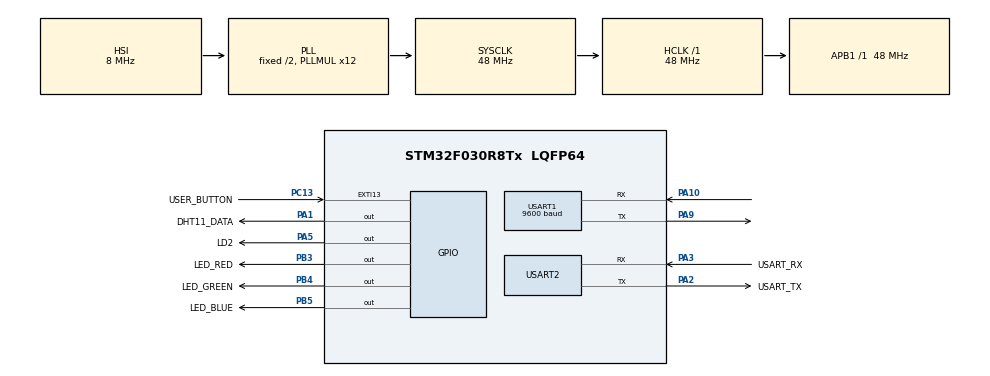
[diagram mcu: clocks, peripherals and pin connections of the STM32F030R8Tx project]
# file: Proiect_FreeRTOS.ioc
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FREERTOS.BinarySemaphores01=buttonSem,Dynamic,NULL,Available
FREERTOS.Queues01=commsQueue,4,uint32_t,0,Dynamic,NULL,NULL
FREERTOS.Tasks01=taskRT,0,256,vTaskRT,Default,NULL,Dynamic,NULL,NULL;taskComm,-2,256,vTaskComm,Default,NULL,Dynamic,NULL,NULL;taskButton,2,128,StartTaskButton,Default,NULL,Dynamic,NULL,NULL
FREERTOS.configTOTAL_HEAP_SIZE=3072
FREERTOS.configUSE_NEWLIB_REENTRANT=0
Mcu.Family=STM32F0
Mcu.Name=STM32F030R8Tx
Mcu.Package=LQFP64
NVIC.EXTI4_15_IRQn=true\:3\:0\:false\:false\:true\:true\:true\:true\:true
NVIC.TIM6_IRQn=true\:3\:0\:false\:false\:true\:false\:false\:true\:true
NVIC.TimeBase=TIM6_IRQn
NVIC.TimeBaseIP=TIM6
NVIC.USART1_IRQn=true\:3\:0\:false\:false\:true\:true\:true\:true\:true
PA1.GPIO_Label=DHT11_DATA
PA1.Signal=GPIO_Output
PA10.Mode=Asynchronous
PA10.Signal=USART1_RX
PA13.GPIO_Label=TMS
PA13.Mode=Serial_Wire
PA13.Signal=SYS_SWDIO
PA14.GPIO_Label=TCK
PA14.Mode=Serial_Wire
PA14.Signal=SYS_SWCLK
PA2.GPIO_Label=USART_TX
PA2.GPIO_Mode=GPIO_MODE_AF_PP
PA2.GPIO_PuPd=GPIO_NOPULL
PA2.GPIO_Speed=GPIO_SPEED_FREQ_LOW
PA2.Mode=Asynchronous
PA2.Signal=USART2_TX
PA3.GPIO_Label=USART_RX
PA3.GPIO_Mode=GPIO_MODE_AF_PP
PA3.GPIO_PuPd=GPIO_NOPULL
PA3.GPIO_Speed=GPIO_SPEED_FREQ_LOW
PA3.Mode=Asynchronous
PA3.Signal=USART2_RX
PA5.GPIO_Label=LD2
PA5.Signal=GPIO_Output
PA9.Mode=Asynchronous
PA9.Signal=USART1_TX
PB3.GPIO_Label=LED_RED
PB3.Signal=GPIO_Output
PB4.GPIO_Label=LED_GREEN
PB4.Signal=GPIO_Output
PB5.GPIO_Label=LED_BLUE
PB5.Signal=GPIO_Output
PC13.GPIO_Label=USER_BUTTON
PC13.Signal=GPXTI13
PC14-OSC32_IN.Mode=LSE-External-Oscillator
PC14-OSC32_IN.Signal=RCC_OSC32_IN
PC15-OSC32_OUT.Mode=LSE-External-Oscillator
PC15-OSC32_OUT.Signal=RCC_OSC32_OUT
PF0-OSC_IN.Mode=HSE-External-Clock-Source
PF0-OSC_IN.Signal=RCC_OSC_IN
PF1-OSC_OUT.Signal=RCC_OSC_OUT
ProjectManager.HeapSize=0x200
ProjectManager.StackSize=0x400
ProjectManager.TargetToolchain=STM32CubeIDE
RCC.AHBFreq_Value=48000000
RCC.APB1Freq_Value=48000000
RCC.APB1TimFreq_Value=48000000
RCC.HCLKFreq_Value=48000000
RCC.PLLMUL=RCC_PLL_MUL12
RCC.SYSCLKFreq_VALUE=48000000
RCC.SYSCLKSource=RCC_SYSCLKSOURCE_PLLCLK
TIM14.Prescaler=47
USART1.BaudRate=9600
USART1.VirtualMode-Asynchronous=VM_ASYNC
USART2.VirtualMode-Asynchronous=VM_ASYNC
VP_FREERTOS_VS_CMSIS_V1.Mode=CMSIS_V1
VP_SYS_VS_tim6.Mode=TIM6
VP_TIM14_VS_ClockSourceINT.Mode=Enable_Timer
board=NUCLEO-F030R8

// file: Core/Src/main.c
/* USER CODE BEGIN Header */
/**
  ******************************************************************************
  * @file           : main.c
  * @brief          : Main program body
  ******************************************************************************
  * @attention
  *
  * Copyright (c) 2025 STMicroelectronics.
  * All rights reserved.
  *
  * This software is licensed under terms that can be found in the LICENSE file
  * in the root directory of this software component.
  * If no LICENSE file comes with this software, it is provided AS-IS.
  *
  ******************************************************************************
  */
/* USER CODE END Header */
#include "main.h"
#include "cmsis_os.h"

/* USER CODE BEGIN Includes */
#include <stdio.h>
#include <string.h>
/* USER CODE END Includes */

/* USER CODE BEGIN PTD */
typedef struct {
  uint8_t Temperature;
  uint8_t Humidity;
} DHT11_Data_t;
/* USER CODE END PTD */

/* USER CODE BEGIN PD */
#define DHT11_PORT GPIOA
#define DHT11_PIN  GPIO_PIN_1

#define LED_PORT GPIOB
#define LED_RED_PIN   GPIO_PIN_3
#define LED_GREEN_PIN GPIO_PIN_4
#define LED_BLUE_PIN  GPIO_PIN_5
/* USER CODE END PD */

TIM_HandleTypeDef htim14;

UART_HandleTypeDef huart1;
UART_HandleTypeDef huart2;

osThreadId taskRTHandle;
osThreadId taskCommHandle;
osThreadId taskButtonHandle;
osMessageQId commsQueueHandle;
osSemaphoreId buttonSemHandle;
/* USER CODE BEGIN PV */
volatile uint8_t SystemMode = 0; // 0=Monitor, 1=Set Temp, 2=Set Hum
volatile uint8_t TempThreshold = 20;
volatile uint8_t HumThreshold = 60;
uint8_t rx_buffer[1];
uint8_t button_last_state = 1;
/* USER CODE END PV */

void SystemClock_Config(void);
static void MX_GPIO_Init(void);
static void MX_USART2_UART_Init(void);
static void MX_TIM14_Init(void);
static void MX_USART1_UART_Init(void);
void vTaskRT(void const * argument);
void vTaskComm(void const * argument);
void StartTaskButton(void const * argument);

/* USER CODE BEGIN PFP */
void DHT11_Start(void);
uint8_t DHT11_Read(void);
void Set_Pin_Output(GPIO_TypeDef *GPIOx, uint16_t GPIO_Pin);
void Set_Pin_Input(GPIO_TypeDef *GPIOx, uint16_t GPIO_Pin);
void delay_us(uint32_t us);
/* USER CODE END PFP */

/* USER CODE BEGIN 0 */
void MicroDelay(uint16_t us) {
  __HAL_TIM_SET_COUNTER(&htim14, 0);
  while (__HAL_TIM_GET_COUNTER(&htim14) < us);
}

void Set_Pin_Output(GPIO_TypeDef *GPIOx, uint16_t GPIO_Pin) {
  GPIO_InitTypeDef GPIO_InitStruct = {0};
  GPIO_InitStruct.Pin = GPIO_Pin;
  GPIO_InitStruct.Mode = GPIO_MODE_OUTPUT_PP;
  GPIO_InitStruct.Speed = GPIO_SPEED_FREQ_HIGH;
  GPIO_InitStruct.Pull = GPIO_NOPULL;
  HAL_GPIO_Init(GPIOx, &GPIO_InitStruct);
}

void Set_Pin_Input(GPIO_TypeDef *GPIOx, uint16_t GPIO_Pin) {
  GPIO_InitTypeDef GPIO_InitStruct = {0};
  GPIO_InitStruct.Pin = GPIO_Pin;
  GPIO_InitStruct.Mode = GPIO_MODE_INPUT;
  GPIO_InitStruct.Pull = GPIO_NOPULL;
  HAL_GPIO_Init(GPIOx, &GPIO_InitStruct);
}

uint8_t DHT11_Read_Data(DHT11_Data_t *dht_data) {
  uint8_t i, j, byte;
  uint8_t data[5] = {0};
  uint32_t timeout;

  // 1. START
  Set_Pin_Output(DHT11_PORT, DHT11_PIN);
  HAL_GPIO_WritePin(DHT11_PORT, DHT11_PIN, GPIO_PIN_RESET);
  osDelay(18);
  HAL_GPIO_WritePin(DHT11_PORT, DHT11_PIN, GPIO_PIN_SET);
  MicroDelay(20);
  Set_Pin_Input(DHT11_PORT, DHT11_PIN);

  // 2. CHECK RESPONSE
  timeout = 0;
  while(HAL_GPIO_ReadPin(DHT11_PORT, DHT11_PIN) == GPIO_PIN_SET) {
    MicroDelay(1);
    if(++timeout > 100) return 1;
  }
  timeout = 0;
  while(HAL_GPIO_ReadPin(DHT11_PORT, DHT11_PIN) == GPIO_PIN_RESET) {
    MicroDelay(1);
    if(++timeout > 100) return 2;
  }
  timeout = 0;
  while(HAL_GPIO_ReadPin(DHT11_PORT, DHT11_PIN) == GPIO_PIN_SET) {
    MicroDelay(1);
    if(++timeout > 100) return 3;
  }

  // 3. READ BITS
  for (j = 0; j < 5; j++) {
    byte = 0;
    for (i = 0; i < 8; i++) {
      timeout = 0;
      while(HAL_GPIO_ReadPin(DHT11_PORT, DHT11_PIN) == GPIO_PIN_RESET) {
        MicroDelay(1);
        if(++timeout > 100) return 4;
      }

      MicroDelay(40);

      if (HAL_GPIO_ReadPin(DHT11_PORT, DHT11_PIN) == GPIO_PIN_SET) {
        byte |= (1 << (7 - i));
        timeout = 0;
        while(HAL_GPIO_ReadPin(DHT11_PORT, DHT11_PIN) == GPIO_PIN_SET) {
          MicroDelay(1);
          if(++timeout > 100) return 5;
        }
      }
    }
    data[j] = byte;
  }

  // 4. CHECKSUM
  if (data[4] == ((data[0] + data[1] + data[2] + data[3]) & 0xFF)) {
    dht_data->Humidity = data[0];
    dht_data->Temperature = data[2];
    return 0;
  } else {
    return 6;
  }
}
/* USER CODE END 0 */

int main(void)
{

  /* MCU Configuration--------------------------------------------------------*/

  /* Reset of all peripherals, Initializes the Flash interface and the Systick. */
  HAL_Init();

  /* Configure the system clock */
  SystemClock_Config();

  /* Initialize all configured peripherals */
  MX_GPIO_Init();
  MX_USART2_UART_Init();
  MX_TIM14_Init();
  MX_USART1_UART_Init();
  /* USER CODE BEGIN 2 */
  //osKernelInitialize();
  /* USER CODE END 2 */

  /* Create the semaphores(s) */
  /* definition and creation of buttonSem */
  osSemaphoreDef(buttonSem);
  buttonSemHandle = osSemaphoreCreate(osSemaphore(buttonSem), 1);

  /* Create the queue(s) */
  /* definition and creation of commsQueue */
  osMessageQDef(commsQueue, 4, uint32_t);
  commsQueueHandle = osMessageCreate(osMessageQ(commsQueue), NULL);

  /* Create the thread(s) */
  /* definition and creation of taskRT */
  osThreadDef(taskRT, vTaskRT, osPriorityNormal, 0, 128);
  taskRTHandle = osThreadCreate(osThread(taskRT), NULL);

  /* definition and creation of taskComm */
  osThreadDef(taskComm, vTaskComm, osPriorityLow, 0, 256);
  taskCommHandle = osThreadCreate(osThread(taskComm), NULL);

  /* definition and creation of taskButton */
  osThreadDef(taskButton, StartTaskButton, osPriorityHigh, 0, 128);
  taskButtonHandle = osThreadCreate(osThread(taskButton), NULL);

  /* Start scheduler */
  osKernelStart();

  /* We should never get here as control is now taken by the scheduler */

  /* Infinite loop */
  while (1)
  {

  }
}

void SystemClock_Config(void)
{
  RCC_OscInitTypeDef RCC_OscInitStruct = {0};
  RCC_ClkInitTypeDef RCC_ClkInitStruct = {0};
  RCC_PeriphCLKInitTypeDef PeriphClkInit = {0};

  /** Initializes the RCC Oscillators according to the specified parameters
  * in the RCC_OscInitTypeDef structure.
  */
  RCC_OscInitStruct.OscillatorType = RCC_OSCILLATORTYPE_HSI;
  RCC_OscInitStruct.HSIState = RCC_HSI_ON;
  RCC_OscInitStruct.HSICalibrationValue = RCC_HSICALIBRATION_DEFAULT;
  RCC_OscInitStruct.PLL.PLLState = RCC_PLL_ON;
  RCC_OscInitStruct.PLL.PLLSource = RCC_PLLSOURCE_HSI;
  RCC_OscInitStruct.PLL.PLLMUL = RCC_PLL_MUL12;
  RCC_OscInitStruct.PLL.PREDIV = RCC_PREDIV_DIV1;
  if (HAL_RCC_OscConfig(&RCC_OscInitStruct) != HAL_OK)
  {
    Error_Handler();
  }

  /** Initializes the CPU, AHB and APB buses clocks
  */
  RCC_ClkInitStruct.ClockType = RCC_CLOCKTYPE_HCLK|RCC_CLOCKTYPE_SYSCLK
                              |RCC_CLOCKTYPE_PCLK1;
  RCC_ClkInitStruct.SYSCLKSource = RCC_SYSCLKSOURCE_PLLCLK;
  RCC_ClkInitStruct.AHBCLKDivider = RCC_SYSCLK_DIV1;
  RCC_ClkInitStruct.APB1CLKDivider = RCC_HCLK_DIV1;

  if (HAL_RCC_ClockConfig(&RCC_ClkInitStruct, FLASH_LATENCY_1) != HAL_OK)
  {
    Error_Handler();
  }
  PeriphClkInit.PeriphClockSelection = RCC_PERIPHCLK_USART1;
  PeriphClkInit.Usart1ClockSelection = RCC_USART1CLKSOURCE_PCLK1;
  if (HAL_RCCEx_PeriphCLKConfig(&PeriphClkInit) != HAL_OK)
  {
    Error_Handler();
  }
}

static void MX_TIM14_Init(void)
{

  htim14.Instance = TIM14;
  htim14.Init.Prescaler = 47;
  htim14.Init.CounterMode = TIM_COUNTERMODE_UP;
  htim14.Init.Period = 65535;
  htim14.Init.ClockDivision = TIM_CLOCKDIVISION_DIV1;
  htim14.Init.AutoReloadPreload = TIM_AUTORELOAD_PRELOAD_DISABLE;
  if (HAL_TIM_Base_Init(&htim14) != HAL_OK)
  {
    Error_Handler();
  }

}

static void MX_USART1_UART_Init(void)
{

  huart1.Instance = USART1;
  huart1.Init.BaudRate = 9600;
  huart1.Init.WordLength = UART_WORDLENGTH_8B;
  huart1.Init.StopBits = UART_STOPBITS_1;
  huart1.Init.Parity = UART_PARITY_NONE;
  huart1.Init.Mode = UART_MODE_TX_RX;
  huart1.Init.HwFlowCtl = UART_HWCONTROL_NONE;
  huart1.Init.OverSampling = UART_OVERSAMPLING_16;
  huart1.Init.OneBitSampling = UART_ONE_BIT_SAMPLE_DISABLE;
  huart1.AdvancedInit.AdvFeatureInit = UART_ADVFEATURE_NO_INIT;
  if (HAL_UART_Init(&huart1) != HAL_OK)
  {
    Error_Handler();
  }

}

static void MX_USART2_UART_Init(void)
{

  huart2.Instance = USART2;
  huart2.Init.BaudRate = 38400;
  huart2.Init.WordLength = UART_WORDLENGTH_8B;
  huart2.Init.StopBits = UART_STOPBITS_1;
  huart2.Init.Parity = UART_PARITY_NONE;
  huart2.Init.Mode = UART_MODE_TX_RX;
  huart2.Init.HwFlowCtl = UART_HWCONTROL_NONE;
  huart2.Init.OverSampling = UART_OVERSAMPLING_16;
  huart2.Init.OneBitSampling = UART_ONE_BIT_SAMPLE_DISABLE;
  huart2.AdvancedInit.AdvFeatureInit = UART_ADVFEATURE_NO_INIT;
  if (HAL_UART_Init(&huart2) != HAL_OK)
  {
    Error_Handler();
  }

}

static void MX_GPIO_Init(void)
{
  GPIO_InitTypeDef GPIO_InitStruct = {0};

  /* GPIO Ports Clock Enable */
  __HAL_RCC_GPIOC_CLK_ENABLE();
  __HAL_RCC_GPIOF_CLK_ENABLE();
  __HAL_RCC_GPIOA_CLK_ENABLE();
  __HAL_RCC_GPIOB_CLK_ENABLE();

  /*Configure GPIO pin Output Level */
  HAL_GPIO_WritePin(GPIOA, DHT11_DATA_Pin|LD2_Pin, GPIO_PIN_RESET);

  /*Configure GPIO pin Output Level */
  HAL_GPIO_WritePin(GPIOB, LED_RED_Pin|LED_GREEN_Pin|LED_BLUE_Pin, GPIO_PIN_RESET);

  /*Configure GPIO pin : USER_BUTTON_Pin */
  GPIO_InitStruct.Pin = USER_BUTTON_Pin;
  GPIO_InitStruct.Mode = GPIO_MODE_IT_FALLING;
  GPIO_InitStruct.Pull = GPIO_NOPULL;
  HAL_GPIO_Init(USER_BUTTON_GPIO_Port, &GPIO_InitStruct);

  /*Configure GPIO pins : DHT11_DATA_Pin LD2_Pin */
  GPIO_InitStruct.Pin = DHT11_DATA_Pin|LD2_Pin;
  GPIO_InitStruct.Mode = GPIO_MODE_OUTPUT_PP;
  GPIO_InitStruct.Pull = GPIO_NOPULL;
  GPIO_InitStruct.Speed = GPIO_SPEED_FREQ_HIGH;
  HAL_GPIO_Init(GPIOA, &GPIO_InitStruct);

  /*Configure GPIO pins : LED_RED_Pin LED_GREEN_Pin LED_BLUE_Pin */
  GPIO_InitStruct.Pin = LED_RED_Pin|LED_GREEN_Pin|LED_BLUE_Pin;
  GPIO_InitStruct.Mode = GPIO_MODE_OUTPUT_PP;
  GPIO_InitStruct.Pull = GPIO_NOPULL;
  GPIO_InitStruct.Speed = GPIO_SPEED_FREQ_LOW;
  HAL_GPIO_Init(GPIOB, &GPIO_InitStruct);

  /* EXTI interrupt init*/
  HAL_NVIC_SetPriority(EXTI4_15_IRQn, 3, 0);
  HAL_NVIC_EnableIRQ(EXTI4_15_IRQn);

}

/* USER CODE BEGIN 4 */
void HAL_GPIO_EXTI_Callback(uint16_t GPIO_Pin)
{
  if(GPIO_Pin == USER_BUTTON_Pin)
  {
    osSemaphoreRelease(buttonSemHandle);
  }
}

void HAL_UART_RxCpltCallback(UART_HandleTypeDef *huart)
{
  if (huart->Instance == USART1)
  {
    if (SystemMode == 1)
    {
      if (rx_buffer[0] == '+') {
        TempThreshold++;
      }
      else if (rx_buffer[0] == '-') {
        TempThreshold--;
      }
    }
    else if (SystemMode == 2)
    {
      if (rx_buffer[0] == '+') {
        HumThreshold++;
      }
      else if (rx_buffer[0] == '-') {
        HumThreshold--;
      }
    }
    HAL_UART_Receive_IT(&huart1, rx_buffer, 1);
  }
}
/* USER CODE END 4 */

void vTaskRT(void const * argument)
{
  /* USER CODE BEGIN 5 */
  HAL_TIM_Base_Start(&htim14);
  DHT11_Data_t SensorData;
  uint8_t status;
  osDelay(2000);

  for(;;)
  {
    if (SystemMode == 0)
    {
      status = DHT11_Read_Data(&SensorData);
      if (status == 0)
      {
        HAL_GPIO_WritePin(GPIOB, LED_RED_PIN|LED_GREEN_PIN|LED_BLUE_PIN, GPIO_PIN_RESET);

        if (SensorData.Temperature < TempThreshold)
        {
          // FRIG
          if (SensorData.Humidity > HumThreshold) {
            // Frig Umed -> CYAN (G+B)
            HAL_GPIO_WritePin(GPIOB, LED_GREEN_PIN|LED_BLUE_PIN, GPIO_PIN_SET);
          } else {
            // Frig Uscat -> BLUE
            HAL_GPIO_WritePin(GPIOB, LED_BLUE_PIN, GPIO_PIN_SET);
          }
        }
        else if (SensorData.Temperature <= (TempThreshold + 5))
        {
          // CONFORTABIL / OK
          if (SensorData.Humidity > HumThreshold) {
            // Zapuseala -> YELLOW (R+G)
            HAL_GPIO_WritePin(GPIOB, LED_RED_PIN|LED_GREEN_PIN, GPIO_PIN_SET);
          } else {
            // Perfect -> GREEN
            HAL_GPIO_WritePin(GPIOB, LED_GREEN_PIN, GPIO_PIN_SET);
          }
        }
        else
        {
          // CALD
          if (SensorData.Humidity > HumThreshold) {
            // Tropical -> MAGENTA (R+B)
            HAL_GPIO_WritePin(GPIOB, LED_RED_PIN|LED_BLUE_PIN, GPIO_PIN_SET);
          } else {
            // Uscat -> RED
            HAL_GPIO_WritePin(GPIOB, LED_RED_PIN, GPIO_PIN_SET);
          }
        }
        uint32_t packed = (SensorData.Temperature << 8) | SensorData.Humidity;
        osMessagePut(commsQueueHandle, packed, 0);
      }
      else
      {
        // Eroare senzor -> Flash Roșu
    	HAL_GPIO_WritePin(GPIOB, LED_RED_PIN|LED_GREEN_PIN|LED_BLUE_PIN, GPIO_PIN_RESET);
        HAL_GPIO_TogglePin(GPIOB, LED_RED_PIN);
      }
    }
    else
    {

      HAL_GPIO_TogglePin(GPIOB, LED_RED_PIN|LED_GREEN_PIN|LED_BLUE_PIN);
      osMessagePut(commsQueueHandle, 0xFFFFFFFF, 0);
    }

    osDelay(1000);
  }
  /* USER CODE END 5 */
}

void vTaskComm(void const * argument)
{
  /* USER CODE BEGIN vTaskComm */
  osEvent event;
  char bt_msg[80];
  uint32_t received_data;
  uint8_t temp, hum;

  static uint8_t last_temp = 255;
  static uint8_t last_hum = 255;
  static uint8_t last_t_thresh = 255;
  static uint8_t last_h_thresh = 255;
  static uint8_t last_mode = 255;

  uint8_t current_mode;
  uint8_t change_detected = 0;
  HAL_UART_Receive_IT(&huart1, rx_buffer, 1);
  for(;;)
  {
    event = osMessageGet(commsQueueHandle, osWaitForever);

    if (event.status == osEventMessage)
    {
      received_data = event.value.v;
      current_mode = SystemMode;
      change_detected = 0;

      if (current_mode != last_mode) {
        change_detected = 1;
      }

      if (current_mode == 0 && received_data != 0xFFFFFFFF)
      {
        temp = (received_data >> 8) & 0xFF;
        hum = received_data & 0xFF;

        if (temp != last_temp || hum != last_hum ||
      	  TempThreshold != last_t_thresh || HumThreshold != last_h_thresh) {
          change_detected = 1;
        }

        if (change_detected == 1) {
          sprintf(bt_msg, "Live: %dC | %d%% (Prag T:%d H:%d)\r\n", temp, hum, TempThreshold, HumThreshold);
          HAL_UART_Transmit(&huart1, (uint8_t*)bt_msg, strlen(bt_msg), 100);

          last_temp = temp;
          last_hum = hum;
          last_t_thresh = TempThreshold;
          last_h_thresh = HumThreshold;
          last_mode = current_mode;
        }
      }
      else if (current_mode == 1)
      {
        if (TempThreshold != last_t_thresh) {
    	  change_detected = 1;
        }
    	if (change_detected == 1) {
    	  sprintf(bt_msg, ">> SETARE TEMPERATURA <<\r\nActual: %d C\r\n(+/- pt modificare)\r\n", TempThreshold);
    	  HAL_UART_Transmit(&huart1, (uint8_t*)bt_msg, strlen(bt_msg), 100);
    	  last_t_thresh = TempThreshold;
    	  last_mode = current_mode;
        }
      }
      else
      {
        if (HumThreshold != last_h_thresh) {
    	  change_detected = 1;
    	}
    	if (change_detected == 1) {
          sprintf(bt_msg, ">> SETARE UMIDITATE <<\r\nActual: %d %% (+/-)\r\n", HumThreshold);
    	  HAL_UART_Transmit(&huart1, (uint8_t*)bt_msg, strlen(bt_msg), 100);
    	  last_h_thresh = HumThreshold;
    	  last_mode = current_mode;
        }
      }
    }
  }
  /* USER CODE END vTaskComm */
}

void StartTaskButton(void const * argument)
{
  /* USER CODE BEGIN StartTaskButton */
  /* Infinite loop */
  for(;;)
  {
    osSemaphoreWait(buttonSemHandle, osWaitForever);
    osDelay(50);
    if (HAL_GPIO_ReadPin(GPIOC, GPIO_PIN_13) == GPIO_PIN_RESET)
    {
      SystemMode = (SystemMode + 1) % 3; // Ciclam 0, 1, 2
      HAL_GPIO_WritePin(GPIOB, LED_RED_PIN|LED_GREEN_PIN|LED_BLUE_PIN, GPIO_PIN_RESET);
      //HAL_GPIO_WritePin(GPIOB, LED_RED_PIN|LED_GREEN_PIN|LED_BLUE_PIN, GPIO_PIN_SET);
      //osDelay(100);
      //HAL_GPIO_WritePin(GPIOB, LED_RED_PIN|LED_GREEN_PIN|LED_BLUE_PIN, GPIO_PIN_RESET);
    }
    while(osSemaphoreWait(buttonSemHandle, 0) == osOK);
  }
  /* USER CODE END StartTaskButton */
}

void HAL_TIM_PeriodElapsedCallback(TIM_HandleTypeDef *htim)
{
  if (htim->Instance == TIM6)
  {
    HAL_IncTick();
  }
}

void Error_Handler(void)
{
  __disable_irq();
  while (1)
  {
  }
}
